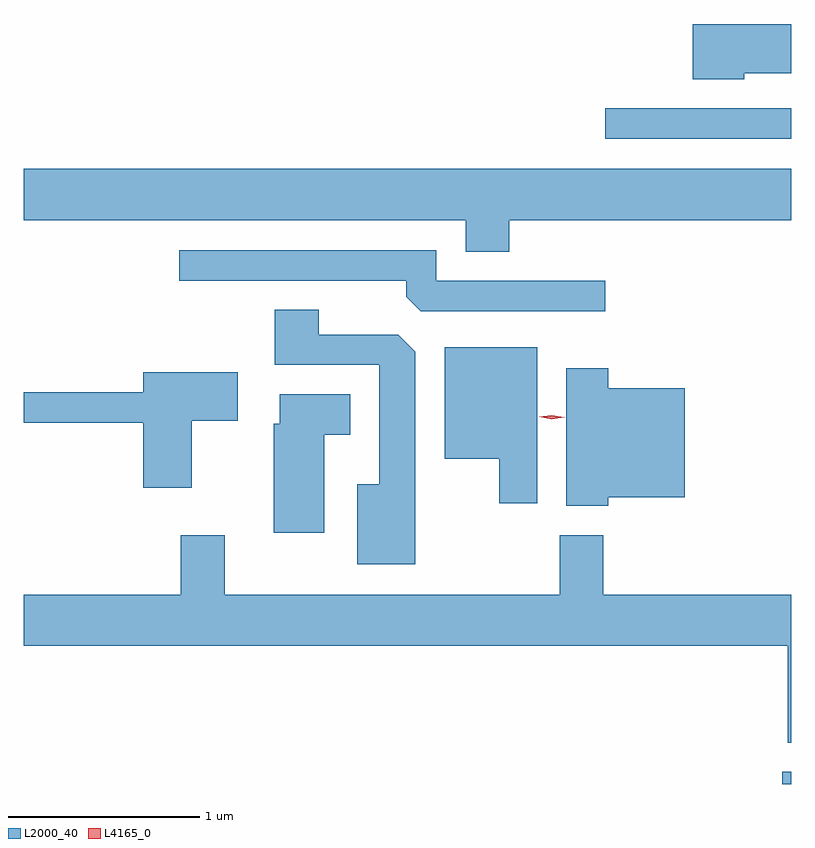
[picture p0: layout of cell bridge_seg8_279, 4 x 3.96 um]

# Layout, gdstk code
import gdstk
lib = gdstk.Library(unit=1e-6, precision=1e-09)
def R(c, l, rs):  # rectangles x0, y0, x1, y1
    for r in rs: c.add(gdstk.rectangle(r[:2], r[2:], *l))
def P(c, l, *ps):  # polygons
    for p in ps: c.add(gdstk.Polygon(p, *l))
L2000_40 = (2000, 40)
L4165_0 = (4165, 0)

bridge_seg8_279 = lib.new_cell('bridge_seg8_279')
R(bridge_seg8_279, L2000_40, [(1267.571,1833.476,1267.618,1833.539), (1266.648,1836.841,1267.618,1836.999)])
P(bridge_seg8_279, L2000_40, [(1267.374,1837.181),(1267.618,1837.181),(1267.618,1837.439),(1267.106,1837.439),(1267.106,1837.151),(1267.374,1837.151)],
  [(1266.149,1836.416),(1267.618,1836.416),(1267.618,1836.684),(1263.618,1836.684),(1263.618,1836.416),(1265.921,1836.416),(1265.921,1836.251),(1266.149,1836.251)],
  [(1266.648,1836.099),(1265.769,1836.099),(1265.769,1836.259),(1264.428,1836.259),(1264.428,1836.101),(1265.611,1836.101),(1265.611,1836.017),(1265.687,1835.941),(1266.648,1835.941)],
  [(1265.659,1835.729),(1265.569,1835.819),(1265.154,1835.819),(1265.154,1835.949),(1264.926,1835.949),(1264.926,1835.661),(1265.471,1835.661),(1265.471,1835.039),(1265.356,1835.039),(1265.356,1834.621),(1265.659,1834.621)],
  [(1266.294,1835.754),(1265.811,1835.754),(1265.811,1835.171),(1266.096,1835.171),(1266.096,1834.941),(1266.294,1834.941)],
  [(1266.664,1834.971),(1267.064,1834.971),(1267.064,1835.539),(1266.664,1835.539),(1266.664,1835.644),(1266.446,1835.644),(1266.446,1834.926),(1266.664,1834.926)],
  [(1264.494,1835.371),(1264.734,1835.371),(1264.734,1835.624),(1264.241,1835.624),(1264.241,1835.519),(1263.618,1835.519),(1263.618,1835.361),(1264.241,1835.361),(1264.241,1835.021),(1264.494,1835.021)],
  [(1265.184,1835.296),(1265.319,1835.296),(1265.319,1835.509),(1264.951,1835.509),(1264.951,1835.354),(1264.921,1835.354),(1264.921,1834.786),(1265.184,1834.786)],
  [(1267.618,1834.464),(1266.639,1834.464),(1266.639,1834.774),(1266.411,1834.774),(1266.411,1834.464),(1264.664,1834.464),(1264.664,1834.774),(1264.436,1834.774),(1264.436,1834.464),(1263.618,1834.464),(1263.618,1834.196),(1267.601,1834.196),(1267.601,1833.691),(1267.618,1833.691)])
P(bridge_seg8_279, L4165_0, [(1266.37,1835.379),(1266.304,1835.39),(1266.304,1835.39),(1266.304,1835.391),(1266.37,1835.399),(1266.436,1835.389),(1266.437,1835.389),(1266.436,1835.388)])

lib.write_gds('bridge_seg8_279.gds')
